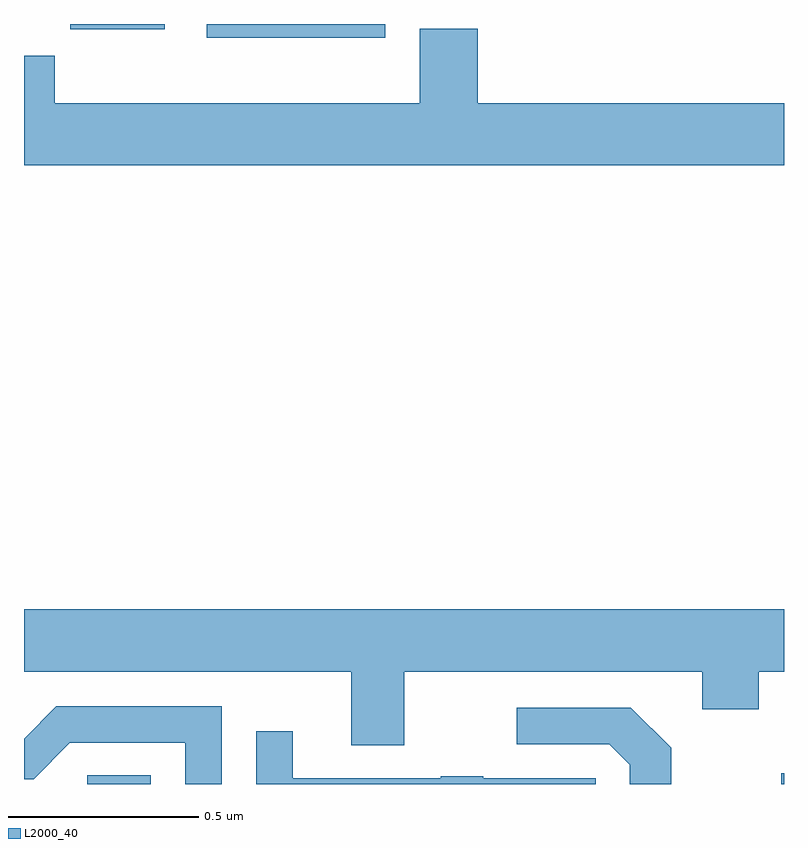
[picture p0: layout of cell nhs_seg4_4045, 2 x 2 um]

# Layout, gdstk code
import gdstk
lib = gdstk.Library(unit=1e-6, precision=1e-09)
def R(c, l, rs):  # rectangles x0, y0, x1, y1
    for r in rs: c.add(gdstk.rectangle(r[:2], r[2:], *l))
def P(c, l, *ps):  # polygons
    for p in ps: c.add(gdstk.Polygon(p, *l))
L2000_40 = (2000, 40)

nhs_seg4_4045 = lib.new_cell('nhs_seg4_4045')
R(nhs_seg4_4045, L2000_40, [(161.166,753.9,161.334,753.923), (162.993,753.9,163,753.928), (161.481,755.864,161.95,755.9), (161.122,755.886,161.371,755.9)])
P(nhs_seg4_4045, L2000_40, [(163,755.692),(162.194,755.692),(162.194,755.887),(162.041,755.887),(162.041,755.692),(161.081,755.692),(161.081,755.816),(161,755.816),(161,755.528),(163,755.528)],
  [(162.001,754.196),(162.785,754.196),(162.785,754.097),(162.933,754.097),(162.933,754.196),(163,754.196),(163,754.36),(161,754.36),(161,754.196),(161.861,754.196),(161.861,754.002),(162.001,754.002)],
  [(161.52,754.104),(161.085,754.104),(161,754.019),(161,753.912),(161.025,753.912),(161.121,754.008),(161.424,754.008),(161.424,753.9),(161.52,753.9)],
  [(162.703,753.995),(162.597,754.101),(162.297,754.101),(162.297,754.005),(162.54,754.005),(162.594,753.951),(162.594,753.9),(162.703,753.9)],
  [(162.504,753.915),(162.209,753.915),(162.209,753.92),(162.097,753.92),(162.097,753.915),(161.707,753.915),(161.707,754.039),(161.611,754.039),(161.611,753.9),(162.504,753.9)])

lib.write_gds('nhs_seg4_4045.gds')
